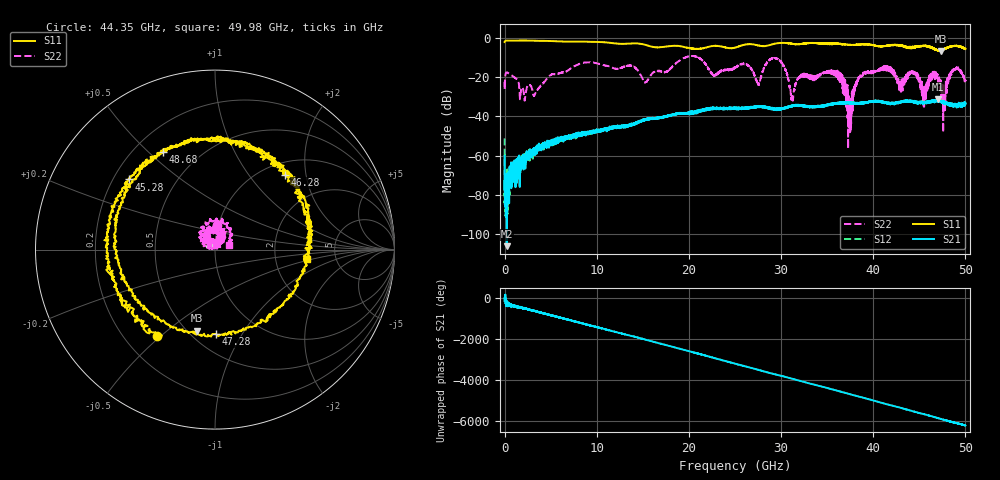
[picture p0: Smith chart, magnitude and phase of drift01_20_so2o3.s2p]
!Created with skrf (http://scikit-rf.org).
# Hz S RI R 50.0
!freq ReS11 ImS11 ReS21 ImS21 ReS12 ImS12 ReS22 ImS22
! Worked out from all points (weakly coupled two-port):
!   10001 points, 300 kHz to 50 GHz, reference 50 ohm
!   highest |S21| = -31.31 dB at 47 GHz (marker M1); lowest = -106.1 dB at 240.3 MHz (marker M2)
!   lowest |S11| = -6.7 dB at 47.37 GHz (marker M3), VSWR 2.72, Z = 27.7 - j31.8 ohm
!   |S11| at or under -10 dB: nowhere
!   |S22| runs from -56.4 to -9.2 dB; largest |S21 - S12| = 0.0035
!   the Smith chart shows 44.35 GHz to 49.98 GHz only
!   S11 on the Smith chart (normalised r, x): 44.35 GHz: 0.33, -0.49; 45.28 GHz: 0.26, +0.33; 46.28 GHz: 1.23, +1.52; 47.28 GHz: 0.64, -0.77; 48.68 GHz: 0.32, +0.56; 49.98 GHz: 3.07, -0.43
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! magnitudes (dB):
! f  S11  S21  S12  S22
! 300 kHz  -2.2  -60.0  -51.2  -22.4
! 240.3 MHz  -1.4  -106.1  -77.0  -17.7
! 3.285 GHz  -1.5  -59.0  -57.1  -28.8
! 8.335 GHz  -1.9  -49.1  -49.1  -12.9
! 16.67 GHz  -4.8  -40.7  -40.6  -16.7
! 25 GHz  -5.0  -35.7  -35.9  -15.3
! 29.59 GHz  -2.8  -36.4  -36.3  -10.7
! 31.23 GHz  -3.1  -34.5  -34.5  -30.7
! 33.34 GHz  -2.6  -35.1  -34.9  -20.3
! 36.08 GHz  -3.0  -33.4  -33.4  -18.1
! 37.47 GHz  -3.6  -33.2  -33.1  -35.6
! 38.65 GHz  -3.4  -33.2  -33.2  -20.0
! 41.67 GHz  -3.9  -33.1  -33.2  -15.7
! 44.35 GHz  -4.7  -32.8  -32.4  -17.1
! 45.28 GHz  -4.2  -32.9  -33.0  -26.4
! 46.28 GHz  -4.9  -33.0  -32.4  -17.9
! 47 GHz  -6.3  -31.3  -32.1  -19.7
! 47.28 GHz  -6.6  -32.2  -32.2  -22.8
! 47.37 GHz  -6.7  -32.5  -32.2  -26.2
! 48.68 GHz  -4.2  -34.3  -34.2  -16.5
! 49.98 GHz  -5.7  -33.3  -33.4  -21.7
! 50 GHz  -5.6  -33.3  -33.3  -21.5
